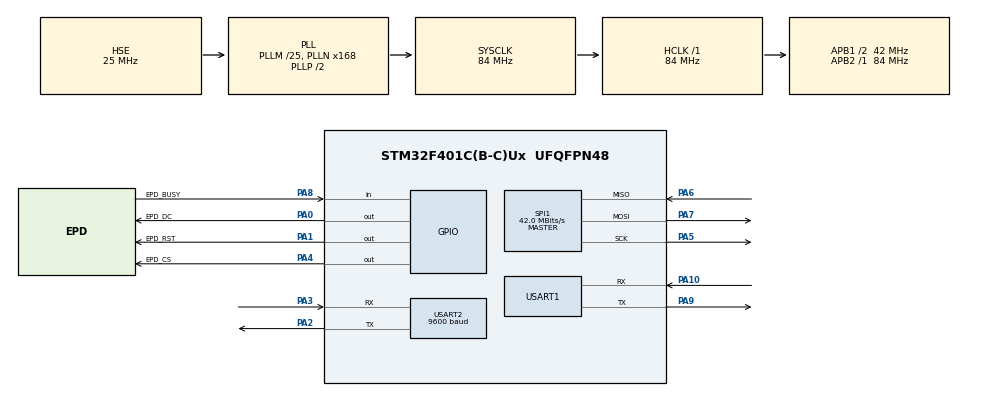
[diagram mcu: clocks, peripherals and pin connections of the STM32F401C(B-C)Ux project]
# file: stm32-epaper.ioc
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FREERTOS.Tasks01=defaultTask,24,128,StartDefaultTask,Default,NULL,Dynamic,NULL,NULL
FREERTOS.configRECORD_STACK_HIGH_ADDRESS=1
FREERTOS.configUSE_NEWLIB_REENTRANT=1
Mcu.Family=STM32F4
Mcu.Name=STM32F401C(B-C)Ux
Mcu.Package=UFQFPN48
NVIC.PriorityGroup=NVIC_PRIORITYGROUP_4
NVIC.TIM1_UP_TIM10_IRQn=true\:15\:0\:false\:false\:true\:false\:false\:true\:true
NVIC.TimeBase=TIM1_UP_TIM10_IRQn
NVIC.TimeBaseIP=TIM10
PA0-WKUP.GPIO_Label=EPD_DC
PA0-WKUP.Signal=GPIO_Output
PA1.GPIO_Label=EPD_RST
PA1.Signal=GPIO_Output
PA10.Mode=Asynchronous
PA10.Signal=USART1_RX
PA13.Mode=Serial_Wire
PA13.Signal=SYS_JTMS-SWDIO
PA14.Mode=Serial_Wire
PA14.Signal=SYS_JTCK-SWCLK
PA2.Mode=Asynchronous
PA2.Signal=USART2_TX
PA3.Mode=Asynchronous
PA3.Signal=USART2_RX
PA4.GPIO_Label=EPD_CS
PA4.PinState=GPIO_PIN_SET
PA4.Signal=GPIO_Output
PA5.Mode=Full_Duplex_Master
PA5.Signal=SPI1_SCK
PA6.Mode=Full_Duplex_Master
PA6.Signal=SPI1_MISO
PA7.Mode=Full_Duplex_Master
PA7.Signal=SPI1_MOSI
PA8.GPIO_Label=EPD_BUSY
PA8.Signal=GPIO_Input
PA9.Mode=Asynchronous
PA9.Signal=USART1_TX
PH0\ -\ OSC_IN.Mode=HSE-External-Oscillator
PH0\ -\ OSC_IN.Signal=RCC_OSC_IN
PH1\ -\ OSC_OUT.Mode=HSE-External-Oscillator
PH1\ -\ OSC_OUT.Signal=RCC_OSC_OUT
ProjectManager.HeapSize=0x200
ProjectManager.StackSize=0x400
ProjectManager.TargetToolchain=STM32CubeIDE
RCC.48MHZClocksFreq_Value=42000000
RCC.AHBFreq_Value=84000000
RCC.APB1CLKDivider=RCC_HCLK_DIV2
RCC.APB1Freq_Value=42000000
RCC.APB1TimFreq_Value=84000000
RCC.APB2Freq_Value=84000000
RCC.APB2TimFreq_Value=84000000
RCC.CortexFreq_Value=84000000
RCC.HCLKFreq_Value=84000000
RCC.HSE_VALUE=25000000
RCC.HSI_VALUE=16000000
RCC.LSE_VALUE=32768
RCC.PLLM=25
RCC.PLLN=168
RCC.PLLSourceVirtual=RCC_PLLSOURCE_HSE
RCC.SYSCLKFreq_VALUE=84000000
RCC.SYSCLKSource=RCC_SYSCLKSOURCE_PLLCLK
RCC.VCOOutputFreq_Value=168000000
SPI1.CalculateBaudRate=42.0 MBits/s
SPI1.Direction=SPI_DIRECTION_2LINES
SPI1.Mode=SPI_MODE_MASTER
SPI1.VirtualType=VM_MASTER
USART1.VirtualMode=VM_ASYNC
USART2.BaudRate=9600
USART2.VirtualMode=VM_ASYNC
VP_FREERTOS_VS_CMSIS_V2.Mode=CMSIS_V2
VP_SYS_VS_tim10.Mode=TIM10
board=custom

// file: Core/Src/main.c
/* USER CODE BEGIN Header */
/**
  ******************************************************************************
  * @file           : main.c
  * @brief          : Main program body
  ******************************************************************************
  * @attention
  *
  * Copyright (c) 2026 STMicroelectronics.
  * All rights reserved.
  *
  * This software is licensed under terms that can be found in the LICENSE file
  * in the root directory of this software component.
  * If no LICENSE file comes with this software, it is provided AS-IS.
  *
  ******************************************************************************
  */
/* USER CODE END Header */
#include "main.h"
#include "cmsis_os.h"

#include "epaper.h"
#include "epaper_gfx.h"
#include "sensor.h"

#include <stdio.h>

SPI_HandleTypeDef hspi1;

UART_HandleTypeDef huart1;
UART_HandleTypeDef huart2;

/* USER CODE BEGIN PV */
#define SENSOR_INTERVAL_MS    10000U   // baca sensor tiap 10 detik — sudah disepakati
#define DISPLAY_INTERVAL_MS   60000U   // refresh e-paper tiap 60 detik — sudah disepakati

/* Definitions for defaultTask */
static osThreadId_t   sensorTaskHandle;
static osThreadId_t   displayTaskHandle;
static osMutexId_t    dataMutexHandle;

static const osThreadAttr_t sensorTask_attrs = {
    .name       = "SensorTask",
    .stack_size = 512 * 4,     // 512 word
    .priority   = osPriorityNormal,
};

static const osThreadAttr_t displayTask_attrs = {
    .name       = "DisplayTask",
    .stack_size = 1024 * 4,    // 1024 word — perlu ruang utk framebuffer 4000 byte + font render
    .priority   = osPriorityLow,
};

static sensor_data_t g_latest_data = {0};

/* USER CODE BEGIN PV */

/* USER CODE END PV */

void SystemClock_Config(void);
static void MX_GPIO_Init(void);
static void MX_SPI1_Init(void);
static void MX_USART1_UART_Init(void);
static void MX_USART2_UART_Init(void);
void StartDefaultTask(void *argument);

/* USER CODE BEGIN PFP */
static void StartSensorTask(void *argument);
static void StartDisplayTask(void *argument);
static void RenderSensorData(const sensor_data_t *data);

/* USER CODE END PFP */

int main(void)
{

  /* MCU Configuration--------------------------------------------------------*/

  /* Reset of all peripherals, Initializes the Flash interface and the Systick. */
  HAL_Init();

  /* Configure the system clock */
  SystemClock_Config();

  /* Initialize all configured peripherals */
  MX_GPIO_Init();
  MX_SPI1_Init();
  MX_USART1_UART_Init();
  MX_USART2_UART_Init();
  /* USER CODE BEGIN 2 */
  {
      const char test_msg[] = "\r\n=== UART1 TEST OK ===\r\n";
      HAL_StatusTypeDef test_status = HAL_UART_Transmit(
          &huart1, (uint8_t *)test_msg, sizeof(test_msg) - 1, 1000);
      // Kalau test_status != HAL_OK, LED/breakpoint di sini bisa membantu
      // debug lebih lanjut — untuk sekarang cukup lihat apa test_msg muncul
      // di terminal atau tidak.
      (void)test_status;
  }

  /* USER CODE END 2 */

  /* Init scheduler */
  osKernelInitialize();

  /* USER CODE BEGIN RTOS_MUTEX */
  /* add mutexes, ... */
  dataMutexHandle = osMutexNew(NULL);
  /* USER CODE END RTOS_MUTEX */

  /* Create the thread(s) */
  /* creation of defaultTask */

  /* USER CODE BEGIN RTOS_THREADS */
  sensorTaskHandle  = osThreadNew(StartSensorTask,  NULL, &sensorTask_attrs);
  displayTaskHandle = osThreadNew(StartDisplayTask, NULL, &displayTask_attrs);

  /* USER CODE END RTOS_THREADS */

  /* Start scheduler */
  osKernelStart();

  /* We should never get here as control is now taken by the scheduler */

  /* Infinite loop */
  while (1)
  {

  }
}

void SystemClock_Config(void)
{
  RCC_OscInitTypeDef RCC_OscInitStruct = {0};
  RCC_ClkInitTypeDef RCC_ClkInitStruct = {0};

  /** Configure the main internal regulator output voltage
  */
  __HAL_RCC_PWR_CLK_ENABLE();
  __HAL_PWR_VOLTAGESCALING_CONFIG(PWR_REGULATOR_VOLTAGE_SCALE2);

  /** Initializes the RCC Oscillators according to the specified parameters
  * in the RCC_OscInitTypeDef structure.
  */
  RCC_OscInitStruct.OscillatorType = RCC_OSCILLATORTYPE_HSE;
  RCC_OscInitStruct.HSEState = RCC_HSE_ON;
  RCC_OscInitStruct.PLL.PLLState = RCC_PLL_ON;
  RCC_OscInitStruct.PLL.PLLSource = RCC_PLLSOURCE_HSE;
  RCC_OscInitStruct.PLL.PLLM = 25;
  RCC_OscInitStruct.PLL.PLLN = 168;
  RCC_OscInitStruct.PLL.PLLP = RCC_PLLP_DIV2;
  RCC_OscInitStruct.PLL.PLLQ = 4;
  if (HAL_RCC_OscConfig(&RCC_OscInitStruct) != HAL_OK)
  {
    Error_Handler();
  }

  /** Initializes the CPU, AHB and APB buses clocks
  */
  RCC_ClkInitStruct.ClockType = RCC_CLOCKTYPE_HCLK|RCC_CLOCKTYPE_SYSCLK
                              |RCC_CLOCKTYPE_PCLK1|RCC_CLOCKTYPE_PCLK2;
  RCC_ClkInitStruct.SYSCLKSource = RCC_SYSCLKSOURCE_PLLCLK;
  RCC_ClkInitStruct.AHBCLKDivider = RCC_SYSCLK_DIV1;
  RCC_ClkInitStruct.APB1CLKDivider = RCC_HCLK_DIV2;
  RCC_ClkInitStruct.APB2CLKDivider = RCC_HCLK_DIV1;

  if (HAL_RCC_ClockConfig(&RCC_ClkInitStruct, FLASH_LATENCY_2) != HAL_OK)
  {
    Error_Handler();
  }
}

static void MX_SPI1_Init(void)
{

  /* SPI1 parameter configuration*/
  hspi1.Instance = SPI1;
  hspi1.Init.Mode = SPI_MODE_MASTER;
  hspi1.Init.Direction = SPI_DIRECTION_2LINES;
  hspi1.Init.DataSize = SPI_DATASIZE_8BIT;
  hspi1.Init.CLKPolarity = SPI_POLARITY_LOW;
  hspi1.Init.CLKPhase = SPI_PHASE_1EDGE;
  hspi1.Init.NSS = SPI_NSS_SOFT;
  hspi1.Init.BaudRatePrescaler = SPI_BAUDRATEPRESCALER_2;
  hspi1.Init.FirstBit = SPI_FIRSTBIT_MSB;
  hspi1.Init.TIMode = SPI_TIMODE_DISABLE;
  hspi1.Init.CRCCalculation = SPI_CRCCALCULATION_DISABLE;
  hspi1.Init.CRCPolynomial = 10;
  if (HAL_SPI_Init(&hspi1) != HAL_OK)
  {
    Error_Handler();
  }

}

static void MX_USART1_UART_Init(void)
{

  huart1.Instance = USART1;
  huart1.Init.BaudRate = 115200;
  huart1.Init.WordLength = UART_WORDLENGTH_8B;
  huart1.Init.StopBits = UART_STOPBITS_1;
  huart1.Init.Parity = UART_PARITY_NONE;
  huart1.Init.Mode = UART_MODE_TX_RX;
  huart1.Init.HwFlowCtl = UART_HWCONTROL_NONE;
  huart1.Init.OverSampling = UART_OVERSAMPLING_16;
  if (HAL_UART_Init(&huart1) != HAL_OK)
  {
    Error_Handler();
  }

}

static void MX_USART2_UART_Init(void)
{

  huart2.Instance = USART2;
  huart2.Init.BaudRate = 9600;
  huart2.Init.WordLength = UART_WORDLENGTH_8B;
  huart2.Init.StopBits = UART_STOPBITS_1;
  huart2.Init.Parity = UART_PARITY_NONE;
  huart2.Init.Mode = UART_MODE_TX_RX;
  huart2.Init.HwFlowCtl = UART_HWCONTROL_NONE;
  huart2.Init.OverSampling = UART_OVERSAMPLING_16;
  if (HAL_UART_Init(&huart2) != HAL_OK)
  {
    Error_Handler();
  }

}

static void MX_GPIO_Init(void)
{
  GPIO_InitTypeDef GPIO_InitStruct = {0};

  /* GPIO Ports Clock Enable */
  __HAL_RCC_GPIOH_CLK_ENABLE();
  __HAL_RCC_GPIOA_CLK_ENABLE();

  /*Configure GPIO pin Output Level */
  HAL_GPIO_WritePin(GPIOA, EPD_DC_Pin|EPD_RST_Pin, GPIO_PIN_RESET);

  /*Configure GPIO pin Output Level */
  HAL_GPIO_WritePin(EPD_CS_GPIO_Port, EPD_CS_Pin, GPIO_PIN_SET);

  /*Configure GPIO pins : EPD_DC_Pin EPD_RST_Pin EPD_CS_Pin */
  GPIO_InitStruct.Pin = EPD_DC_Pin|EPD_RST_Pin|EPD_CS_Pin;
  GPIO_InitStruct.Mode = GPIO_MODE_OUTPUT_PP;
  GPIO_InitStruct.Pull = GPIO_NOPULL;
  GPIO_InitStruct.Speed = GPIO_SPEED_FREQ_LOW;
  HAL_GPIO_Init(GPIOA, &GPIO_InitStruct);

  /*Configure GPIO pin : EPD_BUSY_Pin */
  GPIO_InitStruct.Pin = EPD_BUSY_Pin;
  GPIO_InitStruct.Mode = GPIO_MODE_INPUT;
  GPIO_InitStruct.Pull = GPIO_NOPULL;
  HAL_GPIO_Init(EPD_BUSY_GPIO_Port, &GPIO_InitStruct);

}

/* USER CODE BEGIN 4 */

/**
  * @brief Retarget printf() supaya keluar ke USART1 (debug).
  *        Pola standar STM32CubeIDE — syscalls.c (auto-generated) sudah punya
  *        _write() yang manggil __io_putchar() per karakter; tanpa fungsi ini
  *        diimplementasikan, printf() akan diam saja (atau linker error
  *        "undefined reference to __io_putchar" tergantung versi toolchain).
  *        Ini KEMUNGKINAN BESAR penyebab "serial debug tidak bisa" kamu.
  */
#ifdef __GNUC__
#define PUTCHAR_PROTOTYPE int __io_putchar(int ch)
#else
#define PUTCHAR_PROTOTYPE int fputc(int ch, FILE *f)
#endif

PUTCHAR_PROTOTYPE
{
    HAL_UART_Transmit(&huart1, (uint8_t *)&ch, 1, HAL_MAX_DELAY);
    return ch;
}

/**
  * @brief SensorTask — baca XY-MD02 tiap SENSOR_INTERVAL_MS, tulis ke
  *        g_latest_data (dilindungi mutex). Tidak pernah menyentuh epaper.
  */
static void StartSensorTask(void *argument)
{
    (void)argument;

    sensor_init();   // dipindah dari main() — aman di sini, sudah dalam task context
    printf("[Sensor] task started\r\n");

    uint32_t tick = osKernelGetTickCount();

    for (;;) {
        sensor_data_t tmp;
        int ret = sensor_read(&tmp);

        if (ret == SENSOR_OK) {
            osMutexAcquire(dataMutexHandle, osWaitForever);
            g_latest_data = tmp;
            osMutexRelease(dataMutexHandle);
            printf("[Sensor] OK  temp=%d.%02d humi=%d.%02d\r\n",
                   (int)tmp.temperature,
                   (int)((tmp.temperature - (int)tmp.temperature) * 100),
                   (int)tmp.humidity,
                   (int)((tmp.humidity - (int)tmp.humidity) * 100));
        } else if (ret == SENSOR_TIMEOUT) {
            printf("[Sensor] TIMEOUT - cek wiring RS485 / baudrate / device address\r\n");
        } else if (ret == SENSOR_CRC_ERROR) {
            printf("[Sensor] CRC_ERROR - data korup, cek wiring/noise RS485\r\n");
        }
        // ret == SENSOR_TIMEOUT / SENSOR_CRC_ERROR: g_latest_data TIDAK diupdate,
        // DisplayTask akan tetap tampilkan data valid terakhir (bukan data rusak).

        tick += SENSOR_INTERVAL_MS;
        osDelayUntil(tick);
    }
}

/**
  * @brief DisplayTask — tiap DISPLAY_INTERVAL_MS, ambil salinan data terbaru,
  *        render ke framebuffer, lalu epd_display() (blocking 2-8 detik).
  *        Task terpisah dari SensorTask -> blocking ini tidak menunda sensor.
  *
  *        epd_wake()/epd_sleep() membungkus tiap siklus render (pola diambil
  *        dari referensi ESP32 app_main kamu) — panel tidur di antara refresh
  *        untuk hemat daya, bukan cuma sekali di awal boot.
  *
  *        CATATAN: berbeda dari referensi ESP32 (yang pakai FreeRTOS software
  *        timer + flag `s_needs_refresh` dipolling di while(1) supaya render
  *        tidak jalan langsung dari timer callback/ISR context), di sini pola
  *        itu TIDAK dipakai — DisplayTask ini sudah berjalan di task context-nya
  *        sendiri (bukan callback timer/ISR), jadi osDelayUntil + render
  *        langsung di loop task sudah aman, tidak perlu flag perantara.
  */
static void StartDisplayTask(void *argument)
{
    (void)argument;

    // epd_init() dipindah dari main() ke sini — panggilan ini memanggil osDelay()
    // di dalamnya (lewat _panel_init()), yang HANYA valid setelah osKernelStart().
    // Kalau dipanggil dari main() sebelum kernel start, board akan hang total.
    epd_init();

    uint32_t tick = osKernelGetTickCount();

    for (;;) {
        sensor_data_t local;

        osMutexAcquire(dataMutexHandle, osWaitForever);
        local = g_latest_data;
        osMutexRelease(dataMutexHandle);

        epd_wake();              // bangunkan panel dari deep sleep (reset + init ulang)
        RenderSensorData(&local);
        printf("[Display] rendering: valid=%d temp=%d.%02d humi=%d.%02d\r\n",
               local.valid,
               (int)local.temperature,
               (int)((local.temperature - (int)local.temperature) * 100),
               (int)local.humidity,
               (int)((local.humidity - (int)local.humidity) * 100));
        epd_display();           // blocking ~2-8 detik
        epd_sleep();              // tidurkan lagi setelah tampil, hemat daya
        printf("[Display] refresh done\r\n");

        tick += DISPLAY_INTERVAL_MS;
        osDelayUntil(tick);
    }
}

/**
  * @brief Format 1 desimal manual (mis. 27.3) TANPA pakai "%f" di printf sama
  *        sekali — supaya tidak bergantung ke -u _printf_float linker flag
  *        (yang gampang lupa di-set ulang tiap generate/clean project).
  *        Cuma pakai %d/%s biasa, itu selalu didukung newlib-nano default.
  */
static void format_1dp(char *buf, size_t len, float value, const char *suffix)
{
    int is_neg = (value < 0.0f);
    float av   = is_neg ? -value : value;

    int whole = (int)av;
    int frac  = (int)((av - (float)whole) * 10.0f + 0.5f);   // rounding ke 1 desimal
    if (frac >= 10) { frac = 0; whole += 1; }                  // handle carry, mis. 27.96 -> 28.0

    snprintf(buf, len, "%s%d.%d%s", is_neg ? "-" : "", whole, frac, suffix);
}

/**
  * @brief Render nilai sensor ke framebuffer epaper (belum tampil — epd_display()
  *        yang memicu refresh fisik ke panel). Layout mengikuti pola referensi
  *        ESP32 kamu: header bar solid + judul putih, garis pemisah, konten,
  *        footer dengan garis + teks — bagian WiFi/RSSI di referensi diganti
  *        baris suhu/kelembapan, bagian uptime dipertahankan (pakai HAL_GetTick()
  *        sebagai pengganti esp_timer_get_time()).
  *
  * CATATAN: sudah TIDAK pakai snprintf("%.1f", ...) lagi — diganti format_1dp()
  * manual di atas, supaya tidak bergantung ke printf-float linker flag sama sekali.
  */
static void RenderSensorData(const sensor_data_t *data)
{
    char buf[48];
    char numbuf[16];
    int  y = 0;

    epd_clear_buffer();

    // ── Header ───────────────────────────────────────────────────────────────
    epd_fill_rect(0, y, EPD_WIDTH, 16, EPD_BLACK);
    epd_draw_string(4, y + 4, "STM32 Env Monitor", FONT_SMALL, EPD_WHITE);
    y += 17;
    epd_draw_hline(0, y, EPD_WIDTH, EPD_BLACK);
    y += 6;

    // ── Data sensor ──────────────────────────────────────────────────────────
    if (data->valid) {
        format_1dp(numbuf, sizeof(numbuf), data->temperature, " C");
        snprintf(buf, sizeof(buf), "Temp : %s", numbuf);
        epd_draw_string(4, y, buf, FONT_MEDIUM, EPD_BLACK);
        y += 18;

        format_1dp(numbuf, sizeof(numbuf), data->humidity, " %");
        snprintf(buf, sizeof(buf), "Humi : %s", numbuf);
        epd_draw_string(4, y, buf, FONT_MEDIUM, EPD_BLACK);
        y += 18;
    } else {
        epd_draw_string(4, y, "Sensor error",  FONT_MEDIUM, EPD_BLACK); y += 18;
        epd_draw_string(4, y, "no data yet",   FONT_MEDIUM, EPD_BLACK); y += 18;
    }

    y += 4;
    epd_draw_hline(0, y, EPD_WIDTH, EPD_BLACK);
    y += 6;

    // ── Uptime ───────────────────────────────────────────────────────────────
    // HAL_GetTick() akurat asal CubeMX pakai timer terpisah (mis. TIM10/TIM11)
    // sebagai HAL tick source saat FreeRTOS di-enable, bukan SysTick — SysTick
    // dipakai FreeRTOS sendiri. Ini setting default CubeMX kalau FreeRTOS
    // di-enable via .ioc, tapi tolong dicek waktu generate project.
    uint32_t sec_total = HAL_GetTick() / 1000U;
    uint32_t hours = sec_total / 3600U;
    uint32_t mins  = (sec_total % 3600U) / 60U;
    uint32_t secs  = sec_total % 60U;
    snprintf(buf, sizeof(buf), "Uptime: %02lu:%02lu:%02lu",
             (unsigned long)hours, (unsigned long)mins, (unsigned long)secs);
    epd_draw_string(4, y, buf, FONT_SMALL, EPD_BLACK);

    // ── Footer ───────────────────────────────────────────────────────────────
    epd_draw_hline(0, EPD_HEIGHT - 12, EPD_WIDTH, EPD_BLACK);
    epd_draw_string(4, EPD_HEIGHT - 10, "MJ Mokhtar - Toaster Co", FONT_SMALL, EPD_BLACK);
}

void HAL_TIM_PeriodElapsedCallback(TIM_HandleTypeDef *htim)
{
  if (htim->Instance == TIM10)
  {
    HAL_IncTick();
  }
}

void Error_Handler(void)
{
  __disable_irq();
  while (1)
  {
  }
}
